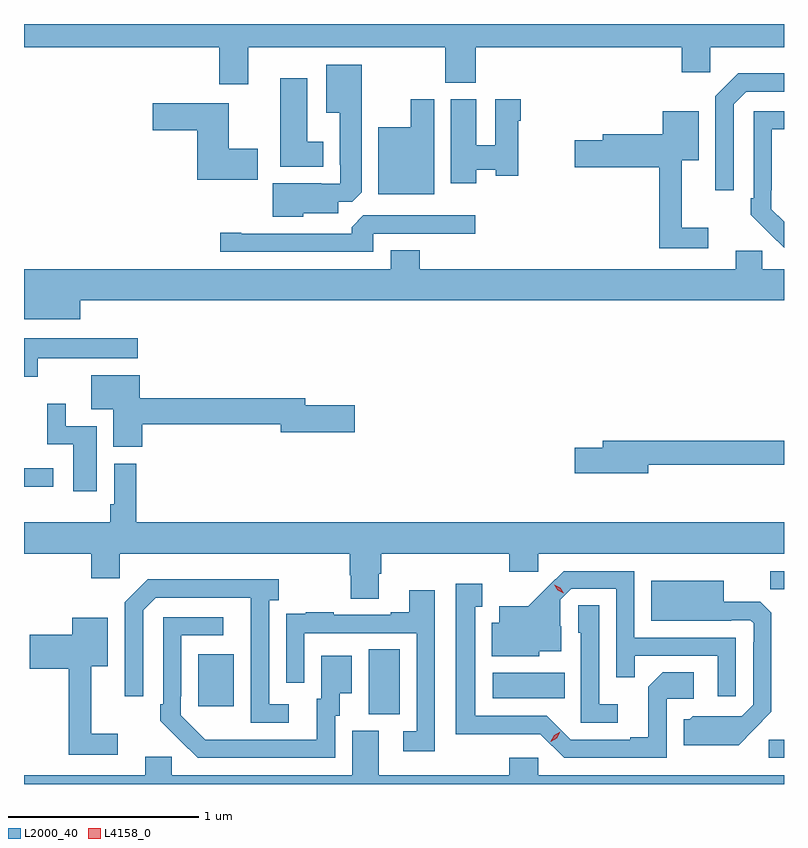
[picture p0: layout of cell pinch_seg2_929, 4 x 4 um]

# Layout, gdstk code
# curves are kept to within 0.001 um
import gdstk
lib = gdstk.Library(unit=1e-6, precision=1e-09)
def R(c, l, rs):  # rectangles x0, y0, x1, y1
    for r in rs: c.add(gdstk.rectangle(r[:2], r[2:], *l))
def P(c, l, *ps):  # polygons
    for p in ps: c.add(gdstk.Polygon(p, *l))
L2000_40 = (2000, 40)
L4158_0 = (4158, 0)

pinch_seg2_929 = lib.new_cell('pinch_seg2_929')
R(pinch_seg2_929, L2000_40, [(329.085,646.56,329.164,646.656), (326.978,646.789,327.142,647.132), (326.081,646.833,326.269,647.107), (327.63,646.874,328.01,647.008), (329.092,647.449,329.164,647.544), (325.164,647.987,325.318,648.084)])
P(pinch_seg2_929, L2000_40, [(328.625,650.169),(328.776,650.169),(328.776,650.3),(329.164,650.3),(329.164,650.423),(325.164,650.423),(325.164,650.3),(326.192,650.3),(326.192,650.106),(326.344,650.106),(326.344,650.3),(327.382,650.3),(327.382,650.113),(327.542,650.113),(327.542,650.3),(328.625,650.3)],
  [(326.634,649.427),(326.818,649.427),(326.818,649.488),(326.892,649.488),(326.941,649.537),(326.941,650.209),(326.756,650.209),(326.756,649.955),(326.825,649.955),(326.825,649.681),(326.829,649.681),(326.829,649.581),(326.729,649.581),(326.729,649.585),(326.474,649.585),(326.474,649.409),(326.634,649.409)],
  [(328.899,650.001),(328.965,650.067),(329.164,650.067),(329.164,650.164),(328.924,650.164),(328.803,650.043),(328.803,649.548),(328.899,649.548)],
  [(326.74,649.804),(326.656,649.804),(326.656,650.137),(326.513,650.137),(326.513,649.673),(326.74,649.673)],
  [(327.544,649.655),(327.648,649.655),(327.648,649.625),(327.766,649.625),(327.766,649.913),(327.779,649.913),(327.779,650.026),(327.644,650.026),(327.644,649.785),(327.544,649.785),(327.544,650.028),(327.41,650.028),(327.41,649.584),(327.544,649.584)],
  [(327.322,650.026),(327.2,650.026),(327.2,649.879),(327.029,649.879),(327.029,649.526),(327.322,649.526)],
  [(326.395,649.767),(326.242,649.767),(326.242,650.007),(325.842,650.007),(325.842,649.865),(326.075,649.865),(326.075,649.604),(326.395,649.604)],
  [(329.164,649.383),(329.097,649.449),(329.097,649.549),(329.1,649.549),(329.1,649.869),(329.164,649.869),(329.164,649.965),(329.004,649.965),(329.004,649.507),(328.989,649.507),(328.989,649.419),(329.164,649.246)],
  [(328.765,649.351),(328.625,649.351),(328.625,649.706),(328.714,649.706),(328.714,649.963),(328.526,649.963),(328.526,649.842),(328.211,649.842),(328.211,649.812),(328.062,649.812),(328.062,649.67),(328.507,649.67),(328.507,649.242),(328.765,649.242)],
  [(327.003,649.32),(327.538,649.32),(327.538,649.416),(326.949,649.416),(326.888,649.354),(326.888,649.32),(326.308,649.32),(326.308,649.325),(326.196,649.325),(326.196,649.224),(327.003,649.224)],
  [(325.459,648.968),(329.164,648.968),(329.164,649.132),(329.049,649.132),(329.049,649.23),(328.91,649.23),(328.91,649.132),(327.248,649.132),(327.248,649.231),(327.095,649.231),(327.095,649.132),(325.164,649.132),(325.164,648.869),(325.459,648.869)],
  [(325.237,648.665),(325.762,648.665),(325.762,648.769),(325.164,648.769),(325.164,648.567),(325.237,648.567)],
  [(325.787,648.316),(326.516,648.316),(326.516,648.274),(326.905,648.274),(326.905,648.416),(326.644,648.416),(326.644,648.452),(325.774,648.452),(325.774,648.574),(325.517,648.574),(325.517,648.395),(325.634,648.395),(325.634,648.198),(325.787,648.198)],
  [(325.546,648.306),(325.384,648.306),(325.384,648.424),(325.286,648.424),(325.286,648.21),(325.424,648.21),(325.424,647.964),(325.546,647.964)],
  [(328.45,648.102),(329.164,648.102),(329.164,648.23),(328.211,648.23),(328.211,648.194),(328.062,648.194),(328.062,648.059),(328.45,648.059)],
  [(327.031,647.53),(327.044,647.53),(327.044,647.636),(327.719,647.636),(327.719,647.541),(327.87,647.541),(327.87,647.636),(329.164,647.636),(329.164,647.8),(325.754,647.8),(325.754,648.109),(325.638,648.109),(325.638,647.896),(325.618,647.896),(325.618,647.8),(325.164,647.8),(325.164,647.636),(325.517,647.636),(325.517,647.505),(325.668,647.505),(325.668,647.636),(326.879,647.636),(326.879,647.523),(326.884,647.523),(326.884,647.398),(327.031,647.398)],
  [(328.911,647.193),(328.377,647.193),(328.377,647.544),(328.004,647.544),(327.817,647.359),(327.665,647.359),(327.665,647.272),(327.626,647.272),(327.626,647.096),(327.876,647.096),(327.876,647.123),(327.991,647.123),(327.991,647.252),(327.987,647.252),(327.987,647.394),(328.044,647.451),(328.281,647.451),(328.281,646.984),(328.379,646.984),(328.379,647.097),(328.815,647.097),(328.815,646.884),(328.911,646.884)],
  [(326.557,646.842),(326.454,646.842),(326.454,647.39),(326.506,647.39),(326.506,647.5),(325.816,647.5),(325.695,647.379),(325.695,646.884),(325.791,646.884),(325.791,647.337),(325.857,647.403),(326.357,647.403),(326.358,646.746),(326.557,646.746)],
  [(329.005,646.709),(329.097,646.802),(329.097,647.324),(329.038,647.383),(328.846,647.383),(328.846,647.494),(328.466,647.494),(328.466,647.282),(328.886,647.282),(328.886,647.286),(328.986,647.286),(329.004,647.268),(329.004,647.168),(329.001,647.168),(329.001,646.839),(328.941,646.779),(328.684,646.78),(328.668,646.764),(328.637,646.764),(328.637,646.628),(328.925,646.628)],
  [(328.548,646.872),(328.69,646.872),(328.69,647.012),(328.525,647.012),(328.449,646.936),(328.449,646.669),(328.355,646.669),(328.355,646.656),(328.041,646.656),(327.915,646.782),(327.538,646.782),(327.538,647.355),(327.577,647.355),(327.577,647.476),(327.437,647.476),(327.437,646.685),(327.882,646.686),(328.008,646.56),(328.548,646.56)],
  [(327.327,647.443),(327.191,647.443),(327.191,647.326),(327.095,647.326),(327.095,647.313),(326.795,647.313),(326.795,647.326),(326.647,647.326),(326.647,647.319),(326.545,647.319),(326.545,647.21),(326.544,647.21),(326.544,646.956),(326.64,646.956),(326.64,647.217),(327.231,647.217),(327.231,646.701),(327.159,646.701),(327.159,646.596),(327.327,646.596)],
  [(328.288,646.843),(328.191,646.843),(328.191,647.363),(328.08,647.363),(328.08,647.22),(328.095,647.22),(328.095,646.746),(328.288,646.746)],
  [(326.802,646.782),(326.827,646.782),(326.827,646.901),(326.89,646.901),(326.89,647.098),(326.729,647.098),(326.729,646.872),(326.705,646.872),(326.705,646.656),(326.118,646.657),(325.989,646.785),(325.989,646.885),(325.992,646.885),(325.992,647.205),(326.212,647.205),(326.212,647.301),(325.896,647.301),(325.896,646.843),(325.881,646.843),(325.881,646.755),(326.078,646.56),(326.802,646.56)],
  [(325.657,646.687),(325.517,646.687),(325.517,647.042),(325.606,647.042),(325.606,647.299),(325.418,647.299),(325.418,647.208),(325.194,647.208),(325.194,647.03),(325.399,647.03),(325.399,646.578),(325.657,646.578)],
  [(329.164,646.468),(327.87,646.468),(327.87,646.561),(327.719,646.561),(327.719,646.468),(327.031,646.468),(327.031,646.704),(326.891,646.704),(326.891,646.468),(325.941,646.468),(325.941,646.566),(325.802,646.566),(325.802,646.468),(325.164,646.468),(325.164,646.423),(329.164,646.423)])
P(pinch_seg2_929, L4158_0, [(328.004,647.427),(327.973,647.443),(327.956,647.473),(327.956,647.473),(327.956,647.473),(327.987,647.457),(328.004,647.428),(328.004,647.427)],
  [(327.936,646.646),(327.936,646.647),(327.954,646.679),(327.986,646.697),(327.986,646.697),(327.986,646.697),(327.968,646.665),(327.937,646.646)])

lib.write_gds('pinch_seg2_929.gds')
